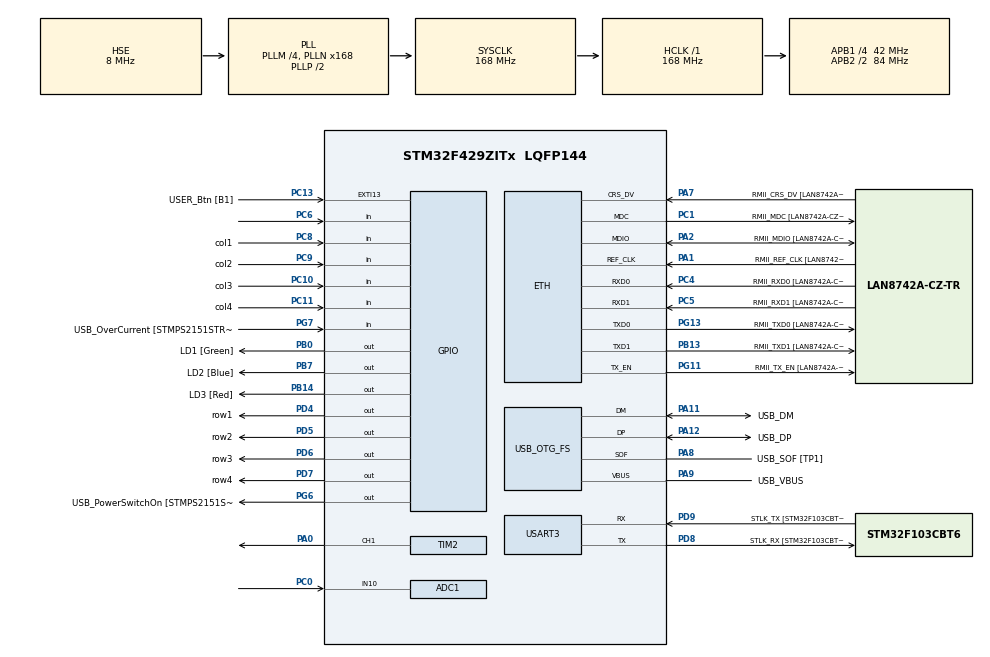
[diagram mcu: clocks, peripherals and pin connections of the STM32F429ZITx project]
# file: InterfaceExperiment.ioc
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ADC1.Channel-0\#ChannelRegularConversion=ADC_CHANNEL_10
ADC1.NbrOfConversionFlag=1
ADC1.Rank-0\#ChannelRegularConversion=1
ADC1.SamplingTime-0\#ChannelRegularConversion=ADC_SAMPLETIME_3CYCLES
ADC1.master=1
ETH.MediaInterface=HAL_ETH_RMII_MODE
ETH.PHY_Name=LAN8742A_PHY_ADDRESS
ETH.PHY_Value=0
ETH.PhyAddress=0
Mcu.Family=STM32F4
Mcu.Name=STM32F429ZITx
Mcu.Package=LQFP144
NVIC.PriorityGroup=NVIC_PRIORITYGROUP_4
NVIC.TIM4_IRQn=true\:0\:0\:false\:false\:true\:true\:true\:true
PA0/WKUP.Signal=S_TIM2_CH1_ETR
PA1.GPIO_Label=RMII_REF_CLK [LAN8742A-CZ-TR_REFCLK0]
PA1.Mode=RMII
PA1.Signal=ETH_REF_CLK
PA10.GPIO_Label=USB_ID
PA10.Signal=USB_OTG_FS_ID
PA11.GPIO_Label=USB_DM
PA11.Mode=Device_Only
PA11.Signal=USB_OTG_FS_DM
PA12.GPIO_Label=USB_DP
PA12.Mode=Device_Only
PA12.Signal=USB_OTG_FS_DP
PA13.GPIO_Label=TMS
PA13.Mode=Serial_Wire
PA13.Signal=SYS_JTMS-SWDIO
PA14.GPIO_Label=TCK
PA14.Mode=Serial_Wire
PA14.Signal=SYS_JTCK-SWCLK
PA2.GPIO_Label=RMII_MDIO [LAN8742A-CZ-TR_MDIO]
PA2.Mode=RMII
PA2.Signal=ETH_MDIO
PA7.GPIO_Label=RMII_CRS_DV [LAN8742A-CZ-TR_CRS_DV]
PA7.Mode=RMII
PA7.Signal=ETH_CRS_DV
PA8.GPIO_Label=USB_SOF [TP1]
PA8.Mode=Activate_SOF_FS
PA8.Signal=USB_OTG_FS_SOF
PA9.GPIO_Label=USB_VBUS
PA9.Mode=Activate_VBUS
PA9.Signal=USB_OTG_FS_VBUS
PB0.GPIO_Label=LD1 [Green]
PB0.Signal=GPIO_Output
PB13.GPIO_Label=RMII_TXD1 [LAN8742A-CZ-TR_TXD1]
PB13.Mode=RMII
PB13.Signal=ETH_TXD1
PB14.GPIO_Label=LD3 [Red]
PB14.Signal=GPIO_Output
PB7.GPIO_Label=LD2 [Blue]
PB7.Signal=GPIO_Output
PC0.Signal=ADCx_IN10
PC1.GPIO_Label=RMII_MDC [LAN8742A-CZ-TR_MDC]
PC1.Mode=RMII
PC1.Signal=ETH_MDC
PC10.GPIO_Label=col3
PC10.Signal=GPIO_Input
PC11.GPIO_Label=col4
PC11.Signal=GPIO_Input
PC13.GPIO_Label=USER_Btn [B1]
PC13.Signal=GPXTI13
PC14/OSC32_IN.Mode=LSE-External-Oscillator
PC14/OSC32_IN.Signal=RCC_OSC32_IN
PC15/OSC32_OUT.Mode=LSE-External-Oscillator
PC15/OSC32_OUT.Signal=RCC_OSC32_OUT
PC4.GPIO_Label=RMII_RXD0 [LAN8742A-CZ-TR_RXD0]
PC4.Mode=RMII
PC4.Signal=ETH_RXD0
PC5.GPIO_Label=RMII_RXD1 [LAN8742A-CZ-TR_RXD1]
PC5.Mode=RMII
PC5.Signal=ETH_RXD1
PC6.GPIO_PuPd=GPIO_NOPULL
PC6.Signal=GPIO_Input
PC8.GPIO_Label=col1
PC8.Signal=GPIO_Input
PC9.GPIO_Label=col2
PC9.Signal=GPIO_Input
PD4.GPIO_Label=row1
PD4.Signal=GPIO_Output
PD5.GPIO_Label=row2
PD5.Signal=GPIO_Output
PD6.GPIO_Label=row3
PD6.Signal=GPIO_Output
PD7.GPIO_Label=row4
PD7.Signal=GPIO_Output
PD8.GPIO_Label=STLK_RX [STM32F103CBT6_PA3]
PD8.Mode=Asynchronous
PD8.Signal=USART3_TX
PD9.GPIO_Label=STLK_TX [STM32F103CBT6_PA2]
PD9.Mode=Asynchronous
PD9.Signal=USART3_RX
PG11.GPIO_Label=RMII_TX_EN [LAN8742A-CZ-TR_TXEN]
PG11.Mode=RMII
PG11.Signal=ETH_TX_EN
PG13.GPIO_Label=RMII_TXD0 [LAN8742A-CZ-TR_TXD0]
PG13.Mode=RMII
PG13.Signal=ETH_TXD0
PG6.GPIO_Label=USB_PowerSwitchOn [STMPS2151STR_EN]
PG6.Signal=GPIO_Output
PG7.GPIO_Label=USB_OverCurrent [STMPS2151STR_FAULT]
PG7.Signal=GPIO_Input
PH0/OSC_IN.GPIO_Label=MCO [STM32F103CBT6_PA8]
PH0/OSC_IN.Mode=HSE-External-Clock-Source
PH0/OSC_IN.Signal=RCC_OSC_IN
PH1/OSC_OUT.Mode=HSE-External-Clock-Source
PH1/OSC_OUT.Signal=RCC_OSC_OUT
ProjectManager.HeapSize=0x200
ProjectManager.StackSize=0x400
ProjectManager.TargetToolchain=STM32CubeIDE
RCC.48MHZClocksFreq_Value=48000000
RCC.AHBFreq_Value=168000000
RCC.APB1CLKDivider=RCC_HCLK_DIV4
RCC.APB1Freq_Value=42000000
RCC.APB1TimFreq_Value=84000000
RCC.APB2CLKDivider=RCC_HCLK_DIV2
RCC.APB2Freq_Value=84000000
RCC.APB2TimCLKDivider=2
RCC.APB2TimFreq_Value=168000000
RCC.CortexFreq_Value=168000000
RCC.HCLKFreq_Value=168000000
RCC.HSE_VALUE=8000000
RCC.HSI_VALUE=16000000
RCC.PLLM=4
RCC.PLLMUL=RCC_PLL_MUL9
RCC.PLLN=168
RCC.PLLQ=7
RCC.PRESCALERUSB=RCC_USBCLKSOURCE_PLL_DIV1_5
RCC.SYSCLKFreq_VALUE=168000000
RCC.SYSCLKSource=RCC_SYSCLKSOURCE_PLLCLK
RCC.SYSCLKSourceVirtual=RCC_SYSCLKSOURCE_PLLCLK
RCC.USBFreq_Value=48000000
RCC.VCOOutputFreq_Value=336000000
SH.ADCx_IN10.0=ADC1_IN10,IN10
SH.S_TIM2_CH1_ETR.0=TIM2_CH1,PWM Generation1 CH1
TIM2.Channel-PWM\ Generation1\ CH1=TIM_CHANNEL_1
TIM2.Period=10000-1
TIM2.Prescaler=168
TIM4.Period=9
TIM4.Prescaler=8399
USART3.VirtualMode=VM_ASYNC
USB_OTG_FS.VirtualMode=Device_Only
VP_TIM4_VS_ClockSourceINT.Mode=Internal
board=NUCLEO-F429ZI

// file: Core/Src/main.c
/* USER CODE BEGIN Header */
/**
  ******************************************************************************
  * @file           : main.c
  * @brief          : Main program body
  ******************************************************************************
  * @attention
  *
  * Copyright (c) 2025 STMicroelectronics.
  * All rights reserved.
  *
  * This software is licensed under terms that can be found in the LICENSE file
  * in the root directory of this software component.
  * If no LICENSE file comes with this software, it is provided AS-IS.
  *
  ******************************************************************************
  */
/* USER CODE END Header */
#include "main.h"
#include "string.h"

/* USER CODE BEGIN Includes */
#include "keypad.h"
#include "stdio.h"
#include "stdbool.h"
/* USER CODE END Includes */

ETH_TxPacketConfig TxConfig;
ETH_DMADescTypeDef DMARxDscrTab[ETH_RX_DESC_CNT]; /* Ethernet Rx DMA Descriptors */
ETH_DMADescTypeDef DMATxDscrTab[ETH_TX_DESC_CNT]; /* Ethernet Tx DMA Descriptors */

ADC_HandleTypeDef hadc1;

ETH_HandleTypeDef heth;

TIM_HandleTypeDef htim2;
TIM_HandleTypeDef htim4;

UART_HandleTypeDef huart3;

PCD_HandleTypeDef hpcd_USB_OTG_FS;

void SystemClock_Config(void);

static void MX_GPIO_Init(void);

static void MX_ETH_Init(void);

static void MX_USART3_UART_Init(void);

static void MX_USB_OTG_FS_PCD_Init(void);

static void MX_ADC1_Init(void);

static void MX_TIM2_Init(void);

static void MX_TIM4_Init(void);

/* USER CODE BEGIN 0 */
//for photoresistor
//UART buffer
char str[64];
//for motor
//
// Light threshold constants
#define LDR_OPEN_THRESHOLD   100U
#define LDR_CLOSE_THRESHOLD   40U
// Servo pulse constants (250–1250 counts for 0.5–2.5 ms)
#define SERVO_STEP_DEGREE    10U
/* USER CODE END PD */

/* USER CODE BEGIN PV */
// Motor open/close state
static bool motorOpen = false;
// Current servo angle
//static uint8_t servoAngle = 0;

void Set_Servo_Angle(TIM_HandleTypeDef *htim, uint32_t channel, uint8_t angle) {
    //angle(0-180)to pulse width(250-1250 counts)
    //250 for 0.5ms(0 degree) and 1250 for 2.5ms(180 degree)
    uint32_t pulse_length = 250 + (angle * (1250 - 250) / 180);
    __HAL_TIM_SET_COMPARE(htim, channel, pulse_length);
}

//Timer
volatile uint32_t countdown_ms = 0;
static bool timer_started = false;

//Sound
#define SOUND_GPIO_PORT GPIOC
#define SOUND_PIN       GPIO_PIN_6

static GPIO_PinState prevSoundState = GPIO_PIN_RESET;
/* USER CODE END 0 */

int main(void) {

    /* MCU Configuration--------------------------------------------------------*/

    /* Reset of all peripherals, Initializes the Flash interface and the Systick. */
    HAL_Init();

    /* Configure the system clock */
    SystemClock_Config();

    /* Initialize all configured peripherals */
    MX_GPIO_Init();
    MX_ETH_Init();
    MX_USART3_UART_Init();
    MX_USB_OTG_FS_PCD_Init();
    MX_ADC1_Init();
    MX_TIM2_Init();
    MX_TIM4_Init();
    /* USER CODE BEGIN 2 */
    //keypad
    //
    //
    GPIO_TypeDef *rowPorts[ROW_NUM] = {GPIOD, GPIOD, GPIOD, GPIOD};
    uint16_t rowPins[ROW_NUM] = {row1_Pin, row2_Pin, row3_Pin, row4_Pin};

    GPIO_TypeDef *colPorts[COL_NUM] = {GPIOC, GPIOC, GPIOC, GPIOC};
    uint16_t colPins[COL_NUM] = {col1_Pin, col2_Pin, col3_Pin, col4_Pin};

    Keypad_SetRowPins(rowPorts, rowPins);
    Keypad_SetColPins(colPorts, colPins);
    Keypad_Init();

    typedef enum {
        //mode
        MODE_A,
        MODE_B,
        MODE_C
    } Mode;

    static Mode currentMode = MODE_A;
    static Mode previousMode = MODE_C;
    //photoresistor
    //
    //
    HAL_ADC_Start(&hadc1);
    //motor
    //
    //
    HAL_TIM_PWM_Start(&htim2, TIM_CHANNEL_1);
    //timer
    //
    //

    /* USER CODE END 2 */

    /* Infinite loop */
    /* USER CODE BEGIN WHILE */
    while (1) {

        char key = Keypad_Scan();
        if (key == 'A') currentMode = MODE_A;
        else if (key == 'B') currentMode = MODE_B;
        else if (key == 'C') currentMode = MODE_C;

        if (currentMode != previousMode) {
            switch (currentMode) {
                case MODE_A:
                    HAL_UART_Transmit(&huart3, (uint8_t *) "Enter Mode A\r\n", 13, 100);
                    break;
                case MODE_B:
                    HAL_UART_Transmit(&huart3, (uint8_t *) "Enter Mode B\r\n", 13, 100);
                    break;
                case MODE_C:
                    HAL_UART_Transmit(&huart3, (uint8_t *) "Enter Mode C\r\n", 13, 100);
                    break;
            }
            previousMode = currentMode;
        }

        switch (currentMode) {
            case MODE_A: {
                // Start ADC in continuous conversion mode once
                HAL_ADC_Start(&hadc1);

                // Stay in Mode A until changed
                while (currentMode == MODE_A) {
                    // 1) Poll ADC conversion
                    // Start ADC in continuous conversion mode once
                    HAL_ADC_Start(&hadc1);
                    if (HAL_ADC_PollForConversion(&hadc1, 100) == HAL_OK) {
                        uint32_t raw = HAL_ADC_GetValue(&hadc1);

                        float mv = raw * 3300.0f / 4095.0f;

                        // Transmit raw LDR value and voltage for testing
                        sprintf(str, "LDR raw=%4lu, %6.1f mV\r\n", raw, mv);
                        HAL_UART_Transmit(&huart3, (uint8_t *) str, strlen(str), 100);

                        // 3) Toggle motor
                        if (raw <= 500) {
                            if (!motorOpen && raw <=250 ) {
                                // Close servo: sweep 180 → 0
                                Set_Servo_Angle(&htim2, TIM_CHANNEL_1, 0);
                                // for (uint8_t a = 80; a >= 0; a -= SERVO_STEP_DEGREE) {
                                //     Set_Servo_Angle(&htim2, TIM_CHANNEL_1, a);
                                // }
                                HAL_Delay(50);
                                motorOpen = true;
                                sprintf(str, "Mode A: Motor CLOSED\r\n");
                            } else if(motorOpen && raw >250){
                                // Open servo: sweep 0 → 180
                                Set_Servo_Angle(&htim2, TIM_CHANNEL_1, 100);
                                // for (uint8_t a = 0; a <= 80; a += SERVO_STEP_DEGREE) {
                                //     Set_Servo_Angle(&htim2, TIM_CHANNEL_1, a);
                                //     HAL_Delay(50);
                                // }
                                HAL_Delay(50);
                                motorOpen = false;
                                sprintf(str, "Mode A: Motor OPENED\r\n");
                            }
                            HAL_UART_Transmit(&huart3, (uint8_t *) str, strlen(str),100);
                            __HAL_ADC_CLEAR_FLAG(&hadc1, ADC_FLAG_EOC);
                        }
                    }
                    // 5) Check for exit key
                    char exitKey = Keypad_Scan();
                    if (exitKey == 'B') {
                        currentMode = MODE_B;
                    } else if (exitKey == 'C') {
                        currentMode = MODE_C;
                    }

                    HAL_Delay(500);
                }
                break;
            } // end case MODE_A

            case MODE_B: {
                // use the 'key' already read at top of while()
                if (key >= '0' && key <= '9') {
                    // 1) convert input to seconds
                    uint32_t seconds = key - '0';
                    countdown_ms = seconds * 1000U;
                    timer_started = true;

                    // 2) UART feedback
                    sprintf(str, "Start countdown: %lu s\r\n", seconds);
                    HAL_UART_Transmit(&huart3, (uint8_t *) str, strlen(str), 100);

                    // 3) reset and start TIM4 interrupt
                    __HAL_TIM_SET_COUNTER(&htim4, 0);
                    HAL_TIM_Base_Start_IT(&htim4);
                }

                // 4) non-blocking check: countdown finished?
                if (timer_started && countdown_ms == 0) {
                    timer_started = false;

                    // toggle motor here (move servo)
                    if (motorOpen) {
                        // close motor: sweep 160→0
                        Set_Servo_Angle(&htim2, TIM_CHANNEL_1, 0);
                        // for (uint8_t a = 180; a > 0; a -= SERVO_STEP_DEGREE) {
                        //     Set_Servo_Angle(&htim2, TIM_CHANNEL_1, a);
                        //     HAL_Delay(50);
                        // }
                        motorOpen = false;
                        sprintf(str, "Motor CLOSED\r\n");
                    } else {
                        // open motor: sweep 0→160
                        Set_Servo_Angle(&htim2, TIM_CHANNEL_1, 100);
                        // for (uint8_t a = 180; a > 0; a -= SERVO_STEP_DEGREE) {
                        //     Set_Servo_Angle(&htim2, TIM_CHANNEL_1, a);
                        //     HAL_Delay(50);
                        // }
                        motorOpen = true;
                        sprintf(str, "Motor OPENED\r\n");
                    }
                    HAL_UART_Transmit(&huart3, (uint8_t *) str, strlen(str), 100);
                }
                break;
            }
            case MODE_C: {
                // 1) Read digital output from sound sensor
                GPIO_PinState curSound = HAL_GPIO_ReadPin(SOUND_GPIO_PORT, SOUND_PIN);

                // --- DEBUG: print current & previous sound states ---
                //  curSound==1 means HIGH (sound detected), 0 means LOW
                sprintf(str, "Sound State: prev=%d, cur=%d\r\n", prevSoundState == GPIO_PIN_SET,
                        curSound == GPIO_PIN_SET);
                HAL_UART_Transmit(&huart3, (uint8_t *) str, strlen(str), 100);

                // 2) Detect rising edge: LOW -> HIGH
                if (curSound == GPIO_PIN_SET && prevSoundState == GPIO_PIN_RESET) {
                    // 3) Toggle motor
                    if (motorOpen) {
                        // Close servo: sweep 180 → 0
                        Set_Servo_Angle(&htim2, TIM_CHANNEL_1, 0);
                        // for (uint8_t a = 180; a > 0; a -= SERVO_STEP_DEGREE) {
                        //     Set_Servo_Angle(&htim2, TIM_CHANNEL_1, a);
                        //     HAL_Delay(50);
                        // }
                        motorOpen = false;
                        sprintf(str, "Mode C: Motor CLOSED\r\n");
                    } else {
                        // Open servo: sweep 0 → 180
                        Set_Servo_Angle(&htim2, TIM_CHANNEL_1, 100);
                        // for (uint8_t a = 0; a <= 180; a += SERVO_STEP_DEGREE) {
                        //     Set_Servo_Angle(&htim2, TIM_CHANNEL_1, a);
                        //     HAL_Delay(50);
                        // }
                        motorOpen = true;
                        sprintf(str, "Mode C: Motor OPENED\r\n");
                    }
                    HAL_UART_Transmit(&huart3, (uint8_t *) str, strlen(str),100);

                }
                HAL_Delay(500);
                // 4) Update previous state for next loop
                prevSoundState = curSound;
                break;

                char exitKey = Keypad_Scan();
                if (exitKey == 'B') {
                    currentMode = MODE_B;
                } else if (exitKey == 'C') {
                    currentMode = MODE_C;
                }

                HAL_Delay(500);
            }
            default:
                break;
        }
        /* USER CODE END WHILE */

    }
}

void SystemClock_Config(void) {
    RCC_OscInitTypeDef RCC_OscInitStruct = {0};
    RCC_ClkInitTypeDef RCC_ClkInitStruct = {0};

    /** Configure the main internal regulator output voltage
    */
    __HAL_RCC_PWR_CLK_ENABLE();
    __HAL_PWR_VOLTAGESCALING_CONFIG(PWR_REGULATOR_VOLTAGE_SCALE1);

    /** Initializes the RCC Oscillators according to the specified parameters
    * in the RCC_OscInitTypeDef structure.
    */
    RCC_OscInitStruct.OscillatorType = RCC_OSCILLATORTYPE_HSE;
    RCC_OscInitStruct.HSEState = RCC_HSE_BYPASS;
    RCC_OscInitStruct.PLL.PLLState = RCC_PLL_ON;
    RCC_OscInitStruct.PLL.PLLSource = RCC_PLLSOURCE_HSE;
    RCC_OscInitStruct.PLL.PLLM = 4;
    RCC_OscInitStruct.PLL.PLLN = 168;
    RCC_OscInitStruct.PLL.PLLP = RCC_PLLP_DIV2;
    RCC_OscInitStruct.PLL.PLLQ = 7;
    if (HAL_RCC_OscConfig(&RCC_OscInitStruct) != HAL_OK) {
        Error_Handler();
    }

    /** Initializes the CPU, AHB and APB buses clocks
    */
    RCC_ClkInitStruct.ClockType = RCC_CLOCKTYPE_HCLK | RCC_CLOCKTYPE_SYSCLK
                                  | RCC_CLOCKTYPE_PCLK1 | RCC_CLOCKTYPE_PCLK2;
    RCC_ClkInitStruct.SYSCLKSource = RCC_SYSCLKSOURCE_PLLCLK;
    RCC_ClkInitStruct.AHBCLKDivider = RCC_SYSCLK_DIV1;
    RCC_ClkInitStruct.APB1CLKDivider = RCC_HCLK_DIV4;
    RCC_ClkInitStruct.APB2CLKDivider = RCC_HCLK_DIV2;

    if (HAL_RCC_ClockConfig(&RCC_ClkInitStruct, FLASH_LATENCY_5) != HAL_OK) {
        Error_Handler();
    }
}

static void MX_ADC1_Init(void) {

    ADC_ChannelConfTypeDef sConfig = {0};

    /** Configure the global features of the ADC (Clock, Resolution, Data Alignment and number of conversion)
    */
    hadc1.Instance = ADC1;
    hadc1.Init.ClockPrescaler = ADC_CLOCK_SYNC_PCLK_DIV4;
    hadc1.Init.Resolution = ADC_RESOLUTION_12B;
    hadc1.Init.ScanConvMode = DISABLE;
    hadc1.Init.ContinuousConvMode = DISABLE;
    hadc1.Init.DiscontinuousConvMode = DISABLE;
    hadc1.Init.ExternalTrigConvEdge = ADC_EXTERNALTRIGCONVEDGE_NONE;
    hadc1.Init.ExternalTrigConv = ADC_SOFTWARE_START;
    hadc1.Init.DataAlign = ADC_DATAALIGN_RIGHT;
    hadc1.Init.NbrOfConversion = 1;
    hadc1.Init.DMAContinuousRequests = DISABLE;
    hadc1.Init.EOCSelection = ADC_EOC_SINGLE_CONV;
    if (HAL_ADC_Init(&hadc1) != HAL_OK) {
        Error_Handler();
    }

    /** Configure for the selected ADC regular channel its corresponding rank in the sequencer and its sample time.
    */
    sConfig.Channel = ADC_CHANNEL_10;
    sConfig.Rank = 1;
    sConfig.SamplingTime = ADC_SAMPLETIME_3CYCLES;
    if (HAL_ADC_ConfigChannel(&hadc1, &sConfig) != HAL_OK) {
        Error_Handler();
    }
}

static void MX_ETH_Init(void) {

    static uint8_t MACAddr[6];

    heth.Instance = ETH;
    MACAddr[0] = 0x00;
    MACAddr[1] = 0x80;
    MACAddr[2] = 0xE1;
    MACAddr[3] = 0x00;
    MACAddr[4] = 0x00;
    MACAddr[5] = 0x00;
    heth.Init.MACAddr = &MACAddr[0];
    heth.Init.MediaInterface = HAL_ETH_RMII_MODE;
    heth.Init.TxDesc = DMATxDscrTab;
    heth.Init.RxDesc = DMARxDscrTab;
    heth.Init.RxBuffLen = 1524;

    if (HAL_ETH_Init(&heth) != HAL_OK) {
        Error_Handler();
    }

    memset(&TxConfig, 0, sizeof(ETH_TxPacketConfig));
    TxConfig.Attributes = ETH_TX_PACKETS_FEATURES_CSUM | ETH_TX_PACKETS_FEATURES_CRCPAD;
    TxConfig.ChecksumCtrl = ETH_CHECKSUM_IPHDR_PAYLOAD_INSERT_PHDR_CALC;
    TxConfig.CRCPadCtrl = ETH_CRC_PAD_INSERT;
}

static void MX_TIM2_Init(void) {

    TIM_MasterConfigTypeDef sMasterConfig = {0};
    TIM_OC_InitTypeDef sConfigOC = {0};

    htim2.Instance = TIM2;
    htim2.Init.Prescaler = 168;
    htim2.Init.CounterMode = TIM_COUNTERMODE_UP;
    htim2.Init.Period = 10000 - 1;
    htim2.Init.ClockDivision = TIM_CLOCKDIVISION_DIV1;
    htim2.Init.AutoReloadPreload = TIM_AUTORELOAD_PRELOAD_DISABLE;
    if (HAL_TIM_PWM_Init(&htim2) != HAL_OK) {
        Error_Handler();
    }
    sMasterConfig.MasterOutputTrigger = TIM_TRGO_RESET;
    sMasterConfig.MasterSlaveMode = TIM_MASTERSLAVEMODE_DISABLE;
    if (HAL_TIMEx_MasterConfigSynchronization(&htim2, &sMasterConfig) != HAL_OK) {
        Error_Handler();
    }
    sConfigOC.OCMode = TIM_OCMODE_PWM1;
    sConfigOC.Pulse = 0;
    sConfigOC.OCPolarity = TIM_OCPOLARITY_HIGH;
    sConfigOC.OCFastMode = TIM_OCFAST_DISABLE;
    if (HAL_TIM_PWM_ConfigChannel(&htim2, &sConfigOC, TIM_CHANNEL_1) != HAL_OK) {
        Error_Handler();
    }
    HAL_TIM_MspPostInit(&htim2);
}

static void MX_TIM4_Init(void) {

    TIM_ClockConfigTypeDef sClockSourceConfig = {0};
    TIM_MasterConfigTypeDef sMasterConfig = {0};

    htim4.Instance = TIM4;
    htim4.Init.Prescaler = 8399;
    htim4.Init.CounterMode = TIM_COUNTERMODE_UP;
    htim4.Init.Period = 9;
    htim4.Init.ClockDivision = TIM_CLOCKDIVISION_DIV1;
    htim4.Init.AutoReloadPreload = TIM_AUTORELOAD_PRELOAD_DISABLE;
    if (HAL_TIM_Base_Init(&htim4) != HAL_OK) {
        Error_Handler();
    }
    sClockSourceConfig.ClockSource = TIM_CLOCKSOURCE_INTERNAL;
    if (HAL_TIM_ConfigClockSource(&htim4, &sClockSourceConfig) != HAL_OK) {
        Error_Handler();
    }
    sMasterConfig.MasterOutputTrigger = TIM_TRGO_RESET;
    sMasterConfig.MasterSlaveMode = TIM_MASTERSLAVEMODE_DISABLE;
    if (HAL_TIMEx_MasterConfigSynchronization(&htim4, &sMasterConfig) != HAL_OK) {
        Error_Handler();
    }
}

static void MX_USART3_UART_Init(void) {

    huart3.Instance = USART3;
    huart3.Init.BaudRate = 115200;
    huart3.Init.WordLength = UART_WORDLENGTH_8B;
    huart3.Init.StopBits = UART_STOPBITS_1;
    huart3.Init.Parity = UART_PARITY_NONE;
    huart3.Init.Mode = UART_MODE_TX_RX;
    huart3.Init.HwFlowCtl = UART_HWCONTROL_NONE;
    huart3.Init.OverSampling = UART_OVERSAMPLING_16;
    if (HAL_UART_Init(&huart3) != HAL_OK) {
        Error_Handler();
    }
}

static void MX_USB_OTG_FS_PCD_Init(void) {

    hpcd_USB_OTG_FS.Instance = USB_OTG_FS;
    hpcd_USB_OTG_FS.Init.dev_endpoints = 4;
    hpcd_USB_OTG_FS.Init.speed = PCD_SPEED_FULL;
    hpcd_USB_OTG_FS.Init.dma_enable = DISABLE;
    hpcd_USB_OTG_FS.Init.phy_itface = PCD_PHY_EMBEDDED;
    hpcd_USB_OTG_FS.Init.Sof_enable = ENABLE;
    hpcd_USB_OTG_FS.Init.low_power_enable = DISABLE;
    hpcd_USB_OTG_FS.Init.lpm_enable = DISABLE;
    hpcd_USB_OTG_FS.Init.vbus_sensing_enable = ENABLE;
    hpcd_USB_OTG_FS.Init.use_dedicated_ep1 = DISABLE;
    if (HAL_PCD_Init(&hpcd_USB_OTG_FS) != HAL_OK) {
        Error_Handler();
    }
}

static void MX_GPIO_Init(void) {
    GPIO_InitTypeDef GPIO_InitStruct = {0};

    /* GPIO Ports Clock Enable */
    __HAL_RCC_GPIOC_CLK_ENABLE();
    __HAL_RCC_GPIOH_CLK_ENABLE();
    __HAL_RCC_GPIOA_CLK_ENABLE();
    __HAL_RCC_GPIOB_CLK_ENABLE();
    __HAL_RCC_GPIOD_CLK_ENABLE();
    __HAL_RCC_GPIOG_CLK_ENABLE();

    /*Configure GPIO pin Output Level */
    HAL_GPIO_WritePin(GPIOB, LD1_Pin | LD3_Pin | LD2_Pin, GPIO_PIN_RESET);

    /*Configure GPIO pin Output Level */
    HAL_GPIO_WritePin(USB_PowerSwitchOn_GPIO_Port, USB_PowerSwitchOn_Pin, GPIO_PIN_RESET);

    /*Configure GPIO pin Output Level */
    HAL_GPIO_WritePin(GPIOD, row1_Pin | row2_Pin | row3_Pin | row4_Pin, GPIO_PIN_RESET);

    /*Configure GPIO pin : USER_Btn_Pin */
    GPIO_InitStruct.Pin = USER_Btn_Pin;
    GPIO_InitStruct.Mode = GPIO_MODE_IT_RISING;
    GPIO_InitStruct.Pull = GPIO_NOPULL;
    HAL_GPIO_Init(USER_Btn_GPIO_Port, &GPIO_InitStruct);

    /*Configure GPIO pins : LD1_Pin LD3_Pin LD2_Pin */
    GPIO_InitStruct.Pin = LD1_Pin | LD3_Pin | LD2_Pin;
    GPIO_InitStruct.Mode = GPIO_MODE_OUTPUT_PP;
    GPIO_InitStruct.Pull = GPIO_NOPULL;
    GPIO_InitStruct.Speed = GPIO_SPEED_FREQ_LOW;
    HAL_GPIO_Init(GPIOB, &GPIO_InitStruct);

    /*Configure GPIO pin : USB_PowerSwitchOn_Pin */
    GPIO_InitStruct.Pin = USB_PowerSwitchOn_Pin;
    GPIO_InitStruct.Mode = GPIO_MODE_OUTPUT_PP;
    GPIO_InitStruct.Pull = GPIO_NOPULL;
    GPIO_InitStruct.Speed = GPIO_SPEED_FREQ_LOW;
    HAL_GPIO_Init(USB_PowerSwitchOn_GPIO_Port, &GPIO_InitStruct);

    /*Configure GPIO pin : USB_OverCurrent_Pin */
    GPIO_InitStruct.Pin = USB_OverCurrent_Pin;
    GPIO_InitStruct.Mode = GPIO_MODE_INPUT;
    GPIO_InitStruct.Pull = GPIO_NOPULL;
    HAL_GPIO_Init(USB_OverCurrent_GPIO_Port, &GPIO_InitStruct);

    /*Configure GPIO pins : PC6 col1_Pin col2_Pin col3_Pin
                             col4_Pin */
    GPIO_InitStruct.Pin = GPIO_PIN_6 | col1_Pin | col2_Pin | col3_Pin
                          | col4_Pin;
    GPIO_InitStruct.Mode = GPIO_MODE_INPUT;
    GPIO_InitStruct.Pull = GPIO_NOPULL;
    HAL_GPIO_Init(GPIOC, &GPIO_InitStruct);

    /*Configure GPIO pins : row1_Pin row2_Pin row3_Pin row4_Pin */
    GPIO_InitStruct.Pin = row1_Pin | row2_Pin | row3_Pin | row4_Pin;
    GPIO_InitStruct.Mode = GPIO_MODE_OUTPUT_PP;
    GPIO_InitStruct.Pull = GPIO_NOPULL;
    GPIO_InitStruct.Speed = GPIO_SPEED_FREQ_LOW;
    HAL_GPIO_Init(GPIOD, &GPIO_InitStruct);

}

/* USER CODE BEGIN 4 */
// This callback runs every 1 ms when TIM4 update interrupt fires
void HAL_TIM_PeriodElapsedCallback(TIM_HandleTypeDef *htim) {
    if (htim->Instance == TIM4 && countdown_ms > 0) {
        countdown_ms--;
    }
}

/* USER CODE END 4 */

void Error_Handler(void) {
    __disable_irq();
    while (1) {
    }
}
